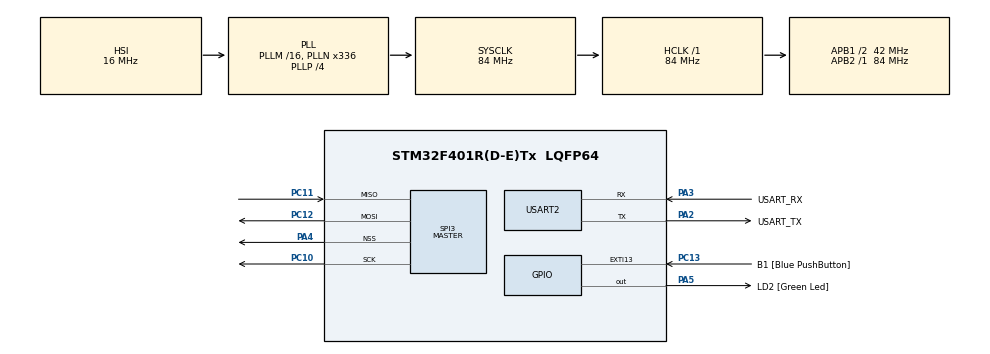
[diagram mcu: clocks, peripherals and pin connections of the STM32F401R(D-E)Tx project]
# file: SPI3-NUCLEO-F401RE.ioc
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FREERTOS.Tasks01=defaultTask,24,128,StartDefaultTask,Default,NULL,Dynamic,NULL,NULL
Mcu.Family=STM32F4
Mcu.Name=STM32F401R(D-E)Tx
Mcu.Package=LQFP64
NVIC.PriorityGroup=NVIC_PRIORITYGROUP_4
NVIC.TIM1_UP_TIM10_IRQn=true\:15\:0\:false\:false\:true\:false\:false\:true\:true
NVIC.TimeBase=TIM1_UP_TIM10_IRQn
NVIC.TimeBaseIP=TIM1
PA13.GPIO_Label=TMS
PA13.Mode=Trace_Asynchronous_SW
PA13.Signal=SYS_JTMS-SWDIO
PA14.GPIO_Label=TCK
PA14.Mode=Trace_Asynchronous_SW
PA14.Signal=SYS_JTCK-SWCLK
PA2.GPIO_Label=USART_TX
PA2.GPIO_Mode=GPIO_MODE_AF_PP
PA2.GPIO_PuPd=GPIO_NOPULL
PA2.GPIO_Speed=GPIO_SPEED_FREQ_LOW
PA2.Mode=Asynchronous
PA2.Signal=USART2_TX
PA3.GPIO_Label=USART_RX
PA3.GPIO_Mode=GPIO_MODE_AF_PP
PA3.GPIO_PuPd=GPIO_NOPULL
PA3.GPIO_Speed=GPIO_SPEED_FREQ_LOW
PA3.Mode=Asynchronous
PA3.Signal=USART2_RX
PA4.Mode=NSS_Signal_Hard_Output
PA4.Signal=SPI3_NSS
PA5.GPIO_Label=LD2 [Green Led]
PA5.GPIO_Mode=GPIO_MODE_OUTPUT_PP
PA5.GPIO_PuPd=GPIO_NOPULL
PA5.GPIO_Speed=GPIO_SPEED_FREQ_LOW
PA5.Signal=GPIO_Output
PB3.GPIO_Label=SWO
PB3.Mode=Trace_Asynchronous_SW
PB3.Signal=SYS_JTDO-SWO
PC10.Mode=Full_Duplex_Master
PC10.Signal=SPI3_SCK
PC11.Mode=Full_Duplex_Master
PC11.Signal=SPI3_MISO
PC12.Mode=Full_Duplex_Master
PC12.Signal=SPI3_MOSI
PC13-ANTI_TAMP.GPIO_Label=B1 [Blue PushButton]
PC13-ANTI_TAMP.GPIO_ModeDefaultEXTI=GPIO_MODE_IT_FALLING
PC13-ANTI_TAMP.GPIO_PuPd=GPIO_NOPULL
PC13-ANTI_TAMP.Signal=GPXTI13
PC14-OSC32_IN.Mode=LSE-External-Oscillator
PC14-OSC32_IN.Signal=RCC_OSC32_IN
PC15-OSC32_OUT.Mode=LSE-External-Oscillator
PC15-OSC32_OUT.Signal=RCC_OSC32_OUT
PH0\ -\ OSC_IN.Mode=HSE-External-Clock-Source
PH0\ -\ OSC_IN.Signal=RCC_OSC_IN
PH1\ -\ OSC_OUT.Mode=HSE-External-Clock-Source
PH1\ -\ OSC_OUT.Signal=RCC_OSC_OUT
ProjectManager.HeapSize=0x200
ProjectManager.StackSize=0x400
ProjectManager.TargetToolchain=STM32CubeIDE
RCC.48MHZClocksFreq_Value=48000000
RCC.AHBFreq_Value=84000000
RCC.APB1CLKDivider=RCC_HCLK_DIV2
RCC.APB1Freq_Value=42000000
RCC.APB1TimFreq_Value=84000000
RCC.APB2Freq_Value=84000000
RCC.APB2TimFreq_Value=84000000
RCC.CortexFreq_Value=84000000
RCC.HCLKFreq_Value=84000000
RCC.HSE_VALUE=8000000
RCC.HSI_VALUE=16000000
RCC.PLLN=336
RCC.PLLP=RCC_PLLP_DIV4
RCC.PLLQ=7
RCC.SYSCLKFreq_VALUE=84000000
RCC.SYSCLKSource=RCC_SYSCLKSOURCE_PLLCLK
RCC.VCOOutputFreq_Value=336000000
SPI3.Direction=SPI_DIRECTION_2LINES
SPI3.Mode=SPI_MODE_MASTER
SPI3.VirtualNSS=VM_NSSHARD
SPI3.VirtualType=VM_MASTER
USART2.VirtualMode=VM_ASYNC
VP_FREERTOS_VS_CMSIS_V2.Mode=CMSIS_V2
VP_SYS_VS_tim1.Mode=TIM1
board=NUCLEO-F401RE

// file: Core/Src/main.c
/* USER CODE BEGIN Header */
/**
  ******************************************************************************
  * @file           : main.c
  * @brief          : Main program body
  ******************************************************************************
  * @attention
  *
  * Copyright (c) 2026 STMicroelectronics.
  * All rights reserved.
  *
  * This software is licensed under terms that can be found in the LICENSE file
  * in the root directory of this software component.
  * If no LICENSE file comes with this software, it is provided AS-IS.
  *
  ******************************************************************************
  */
/* USER CODE END Header */
#include "main.h"
#include "cmsis_os.h"
#include "application.h"

SPI_HandleTypeDef hspi3;

UART_HandleTypeDef huart2;

/* Definitions for defaultTask */
osThreadId_t defaultTaskHandle;
const osThreadAttr_t defaultTask_attributes = {
  .name = "defaultTask",
  .stack_size = 128 * 4,
  .priority = (osPriority_t) osPriorityNormal,
};

void SystemClock_Config(void);
static void MX_GPIO_Init(void);
static void MX_SPI3_Init(void);
static void MX_USART2_UART_Init(void);
void StartDefaultTask(void *argument);

/* USER CODE BEGIN 0 */
/* Redirect printf to UART */
int _write(int file, char *ptr, int len)
{
    HAL_UART_Transmit(&huart2, (uint8_t *)ptr, len, HAL_MAX_DELAY);
    return len;
}

int _read(int file, char *ptr, int len)
{
    HAL_UART_Receive(&huart2, (uint8_t*)ptr, 1, HAL_MAX_DELAY);
    return 1;
}
/* USER CODE END 0 */

int main(void)
{

  /* MCU Configuration--------------------------------------------------------*/

  /* Reset of all peripherals, Initializes the Flash interface and the Systick. */
  HAL_Init();

  /* Configure the system clock */
  SystemClock_Config();

  /* Initialize all configured peripherals */
  MX_GPIO_Init();
  MX_SPI3_Init();
  MX_USART2_UART_Init();

  /* Init scheduler */
  osKernelInitialize();

  /* Create the thread(s) */
  /* creation of defaultTask */
  defaultTaskHandle = osThreadNew(StartDefaultTask, NULL, &defaultTask_attributes);

  printf("\r\n=== STM32 FreeRTOS + CSP4CMSIS bootstrap ===\r\n");

  /* ---- CSP APPLICATION ENTRY POINT ---- */
  csp_app_main_init();

  /* Start scheduler */
  osKernelStart();

  /* We should never get here as control is now taken by the scheduler */

  /* Infinite loop */
  while (1)
  {

  }
}

void SystemClock_Config(void)
{
  RCC_OscInitTypeDef RCC_OscInitStruct = {0};
  RCC_ClkInitTypeDef RCC_ClkInitStruct = {0};

  /** Configure the main internal regulator output voltage
  */
  __HAL_RCC_PWR_CLK_ENABLE();
  __HAL_PWR_VOLTAGESCALING_CONFIG(PWR_REGULATOR_VOLTAGE_SCALE2);

  /** Initializes the RCC Oscillators according to the specified parameters
  * in the RCC_OscInitTypeDef structure.
  */
  RCC_OscInitStruct.OscillatorType = RCC_OSCILLATORTYPE_HSI;
  RCC_OscInitStruct.HSIState = RCC_HSI_ON;
  RCC_OscInitStruct.HSICalibrationValue = RCC_HSICALIBRATION_DEFAULT;
  RCC_OscInitStruct.PLL.PLLState = RCC_PLL_ON;
  RCC_OscInitStruct.PLL.PLLSource = RCC_PLLSOURCE_HSI;
  RCC_OscInitStruct.PLL.PLLM = 16;
  RCC_OscInitStruct.PLL.PLLN = 336;
  RCC_OscInitStruct.PLL.PLLP = RCC_PLLP_DIV4;
  RCC_OscInitStruct.PLL.PLLQ = 7;
  if (HAL_RCC_OscConfig(&RCC_OscInitStruct) != HAL_OK)
  {
    Error_Handler();
  }

  /** Initializes the CPU, AHB and APB buses clocks
  */
  RCC_ClkInitStruct.ClockType = RCC_CLOCKTYPE_HCLK|RCC_CLOCKTYPE_SYSCLK
                              |RCC_CLOCKTYPE_PCLK1|RCC_CLOCKTYPE_PCLK2;
  RCC_ClkInitStruct.SYSCLKSource = RCC_SYSCLKSOURCE_PLLCLK;
  RCC_ClkInitStruct.AHBCLKDivider = RCC_SYSCLK_DIV1;
  RCC_ClkInitStruct.APB1CLKDivider = RCC_HCLK_DIV2;
  RCC_ClkInitStruct.APB2CLKDivider = RCC_HCLK_DIV1;

  if (HAL_RCC_ClockConfig(&RCC_ClkInitStruct, FLASH_LATENCY_2) != HAL_OK)
  {
    Error_Handler();
  }
}

static void MX_SPI3_Init(void)
{

  /* SPI3 parameter configuration*/
  hspi3.Instance = SPI3;
  hspi3.Init.Mode = SPI_MODE_MASTER;
  hspi3.Init.Direction = SPI_DIRECTION_2LINES;
  hspi3.Init.DataSize = SPI_DATASIZE_8BIT;
  hspi3.Init.CLKPolarity = SPI_POLARITY_HIGH;
  hspi3.Init.CLKPhase = SPI_PHASE_2EDGE;
  hspi3.Init.NSS = SPI_NSS_SOFT;
  hspi3.Init.BaudRatePrescaler = SPI_BAUDRATEPRESCALER_8;
  hspi3.Init.FirstBit = SPI_FIRSTBIT_MSB;
  hspi3.Init.TIMode = SPI_TIMODE_DISABLE;
  hspi3.Init.CRCCalculation = SPI_CRCCALCULATION_DISABLE;
  hspi3.Init.CRCPolynomial = 10;
  if (HAL_SPI_Init(&hspi3) != HAL_OK)
  {
    Error_Handler();
  }

}

static void MX_USART2_UART_Init(void)
{

  huart2.Instance = USART2;
  huart2.Init.BaudRate = 115200;
  huart2.Init.WordLength = UART_WORDLENGTH_8B;
  huart2.Init.StopBits = UART_STOPBITS_1;
  huart2.Init.Parity = UART_PARITY_NONE;
  huart2.Init.Mode = UART_MODE_TX_RX;
  huart2.Init.HwFlowCtl = UART_HWCONTROL_NONE;
  huart2.Init.OverSampling = UART_OVERSAMPLING_16;
  if (HAL_UART_Init(&huart2) != HAL_OK)
  {
    Error_Handler();
  }

}

static void MX_GPIO_Init(void)
{
  GPIO_InitTypeDef GPIO_InitStruct = {0};

  /* GPIO Ports Clock Enable */
  __HAL_RCC_GPIOC_CLK_ENABLE();
  __HAL_RCC_GPIOH_CLK_ENABLE();
  __HAL_RCC_GPIOA_CLK_ENABLE();
  __HAL_RCC_GPIOB_CLK_ENABLE();

  /*Configure GPIO pin Output Level */
  HAL_GPIO_WritePin(LD2_GPIO_Port, LD2_Pin, GPIO_PIN_RESET);

  /*Configure GPIO pin : B1_Pin */
  GPIO_InitStruct.Pin = B1_Pin;
  GPIO_InitStruct.Mode = GPIO_MODE_IT_FALLING;
  GPIO_InitStruct.Pull = GPIO_NOPULL;
  HAL_GPIO_Init(B1_GPIO_Port, &GPIO_InitStruct);

  /*Configure GPIO pin : LD2_Pin */
  GPIO_InitStruct.Pin = LD2_Pin;
  GPIO_InitStruct.Mode = GPIO_MODE_OUTPUT_PP;
  GPIO_InitStruct.Pull = GPIO_NOPULL;
  GPIO_InitStruct.Speed = GPIO_SPEED_FREQ_LOW;
  HAL_GPIO_Init(LD2_GPIO_Port, &GPIO_InitStruct);

  GPIO_InitStruct.Pin = GPIO_PIN_10 | GPIO_PIN_11 | GPIO_PIN_12;
  GPIO_InitStruct.Mode = GPIO_MODE_AF_PP;
  GPIO_InitStruct.Pull = GPIO_NOPULL;
  GPIO_InitStruct.Speed = GPIO_SPEED_FREQ_VERY_HIGH;
  GPIO_InitStruct.Alternate = GPIO_AF6_SPI3;
  HAL_GPIO_Init(GPIOC, &GPIO_InitStruct);

  /* USER CODE BEGIN MX_GPIO_Init_2 */

  __HAL_RCC_GPIOB_CLK_ENABLE();

  GPIO_InitStruct.Pin = GPIO_PIN_12;
  GPIO_InitStruct.Mode = GPIO_MODE_OUTPUT_PP;
  GPIO_InitStruct.Pull = GPIO_NOPULL;
  GPIO_InitStruct.Speed = GPIO_SPEED_FREQ_HIGH;
  HAL_GPIO_Init(GPIOB, &GPIO_InitStruct);

  HAL_GPIO_WritePin(GPIOB, GPIO_PIN_12, GPIO_PIN_SET); // CS idle high

  // 1. Enable the Clock for whichever port you are using (e.g., GPIOA)
  __HAL_RCC_GPIOA_CLK_ENABLE();

  // 2. Configure Pin 1
  GPIO_InitStruct.Pin = GPIO_PIN_1;
  //GPIO_InitStruct.Mode = GPIO_MODE_IT_FALLING;
  GPIO_InitStruct.Mode = GPIO_MODE_IT_RISING; // L3G4200D pulses high when ready
  GPIO_InitStruct.Pull = GPIO_NOPULL;         // The sensor drives this pin strongly
  HAL_GPIO_Init(GPIOA, &GPIO_InitStruct);

  // 3. Set the priority for EXTI Line 1 (PA1 uses EXTI1)
  // We use 5 because it must be >= configLIBRARY_MAX_SYSCALL_INTERRUPT_PRIORITY
  HAL_NVIC_SetPriority(EXTI1_IRQn, 5, 0);

  // 4. Enable the interrupt line
  HAL_NVIC_EnableIRQ(EXTI1_IRQn);

  /* USER CODE END MX_GPIO_Init_2 */
}

void StartDefaultTask(void *argument)
{
  for(;;)
  {
    osDelay(1);
  }
}

void HAL_TIM_PeriodElapsedCallback(TIM_HandleTypeDef *htim)
{
  if (htim->Instance == TIM1)
  {
    HAL_IncTick();
  }
}

void Error_Handler(void)
{
  __disable_irq();
  while (1)
  {
  }
}
